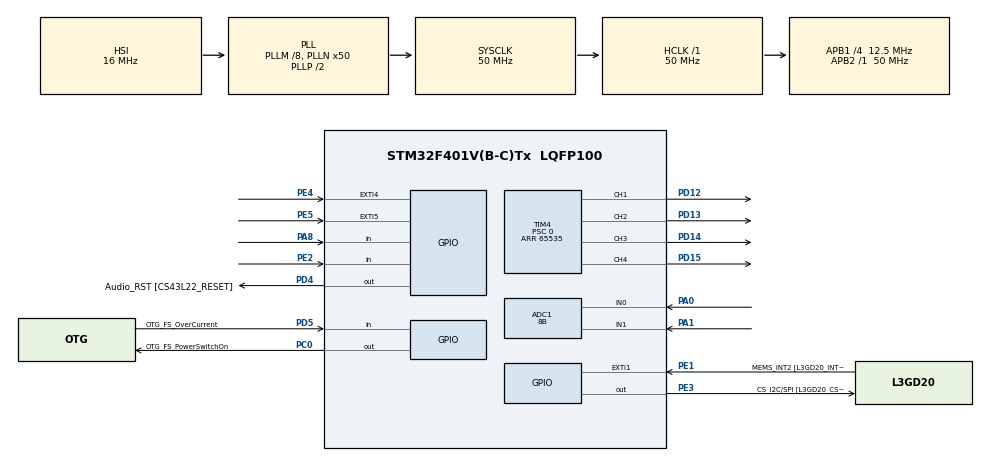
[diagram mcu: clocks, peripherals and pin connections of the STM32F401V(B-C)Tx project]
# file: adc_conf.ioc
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ADC1.Channel-0\#ChannelRegularConversion=ADC_CHANNEL_0
ADC1.Channel-1\#ChannelRegularConversion=ADC_CHANNEL_1
ADC1.Channel-2\#ChannelInjectedConversion=ADC_CHANNEL_0
ADC1.Channel-3\#ChannelInjectedConversion=ADC_CHANNEL_0
ADC1.Channel-5\#ChannelInjectedConversion=ADC_CHANNEL_0
ADC1.Channel-6\#ChannelInjectedConversion=ADC_CHANNEL_0
ADC1.ClockPrescaler=ADC_CLOCK_SYNC_PCLK_DIV2
ADC1.ContinuousConvMode=ENABLE
ADC1.DMAContinuousRequests=ENABLE
ADC1.DataAlign=ADC_DATAALIGN_RIGHT
ADC1.DiscontinuousConvMode=DISABLE
ADC1.EOCSelection=ADC_EOC_SINGLE_CONV
ADC1.EnableAnalogWatchDog=false
ADC1.ExternalTrigConv=ADC_SOFTWARE_START
ADC1.ExternalTrigConvEdge=ADC_EXTERNALTRIGCONVEDGE_NONE
ADC1.InjNumberOfConversion=2
ADC1.InjectedOffset-2\#ChannelInjectedConversion=0
ADC1.InjectedOffset-3\#ChannelInjectedConversion=0
ADC1.InjectedOffset-5\#ChannelInjectedConversion=0
ADC1.InjectedOffset-6\#ChannelInjectedConversion=0
ADC1.NbrOfConversion=2
ADC1.NbrOfConversionFlag=1
ADC1.Rank-0\#ChannelRegularConversion=1
ADC1.Rank-1\#ChannelRegularConversion=2
ADC1.Rank-2\#ChannelInjectedConversion=1
ADC1.Rank-3\#ChannelInjectedConversion=2
ADC1.Rank-5\#ChannelInjectedConversion=1
ADC1.Rank-6\#ChannelInjectedConversion=2
ADC1.Resolution=ADC_RESOLUTION_8B
ADC1.SamplingTime-0\#ChannelRegularConversion=ADC_SAMPLETIME_144CYCLES
ADC1.SamplingTime-1\#ChannelRegularConversion=ADC_SAMPLETIME_144CYCLES
ADC1.SamplingTime-2\#ChannelInjectedConversion=ADC_SAMPLETIME_3CYCLES
ADC1.SamplingTime-3\#ChannelInjectedConversion=ADC_SAMPLETIME_3CYCLES
ADC1.SamplingTime-5\#ChannelInjectedConversion=ADC_SAMPLETIME_3CYCLES
ADC1.SamplingTime-6\#ChannelInjectedConversion=ADC_SAMPLETIME_3CYCLES
ADC1.ScanConvMode=ENABLE
ADC1.master=1
Dma.ADC1.0.Direction=DMA_PERIPH_TO_MEMORY
Dma.ADC1.0.FIFOMode=DMA_FIFOMODE_ENABLE
Dma.ADC1.0.FIFOThreshold=DMA_FIFO_THRESHOLD_FULL
Dma.ADC1.0.Instance=DMA2_Stream0
Dma.ADC1.0.MemBurst=DMA_MBURST_SINGLE
Dma.ADC1.0.MemDataAlignment=DMA_MDATAALIGN_HALFWORD
Dma.ADC1.0.MemInc=DMA_MINC_ENABLE
Dma.ADC1.0.Mode=DMA_CIRCULAR
Dma.ADC1.0.PeriphBurst=DMA_PBURST_SINGLE
Dma.ADC1.0.PeriphDataAlignment=DMA_PDATAALIGN_HALFWORD
Dma.ADC1.0.PeriphInc=DMA_PINC_DISABLE
Dma.ADC1.0.Priority=DMA_PRIORITY_LOW
Dma.Request0=ADC1
Mcu.Family=STM32F4
Mcu.Name=STM32F401V(B-C)Tx
Mcu.Package=LQFP100
NVIC.DMA2_Stream0_IRQn=true\:0\:0\:false\:false\:true
NVIC.PriorityGroup=NVIC_PRIORITYGROUP_0
PA0-WKUP.Signal=ADCx_IN0
PA1.Signal=ADCx_IN1
PA11.GPIO_Label=OTG_FS_DM
PA11.Signal=USB_OTG_FS_DM
PA12.GPIO_Label=OTG_FS_DP
PA12.Signal=USB_OTG_FS_DP
PA13.GPIO_Label=SWDIO
PA13.Signal=SYS_JTMS-SWDIO
PA14.GPIO_Label=SWCLK
PA14.Signal=SYS_JTCK-SWCLK
PA4.GPIO_Label=I2S3_WS [CS43L22_LRCK]
PA4.GPIO_Mode=GPIO_MODE_AF_PP
PA4.GPIO_PuPd=GPIO_NOPULL
PA4.GPIO_Speed=GPIO_SPEED_FREQ_LOW
PA4.Signal=I2S3_WS
PA5.GPIO_Label=SPI1_SCK [L3GD20_SC/SPC]
PA5.Signal=SPI1_SCK
PA6.GPIO_Label=SPI1_MISO [L3GD20_AS0/SDO]
PA6.Signal=SPI1_MISO
PA7.GPIO_Label=SPI1_MISO [L3GD20_SDA/SDI/SDO]
PA7.Signal=SPI1_MOSI
PA8.GPIO_PuPd=GPIO_PULLDOWN
PA8.Signal=GPIO_Input
PA9.GPIO_Label=VBUS_FS
PA9.Signal=USB_OTG_FS_VBUS
PB10.GPIO_Label=CLK_IN [MP45DT02_CLK]
PB10.Signal=I2S2_CK
PB12.Signal=I2S2_WS
PB3.GPIO_Label=SWO
PB3.Signal=SYS_JTDO-SWO
PB6.GPIO_Label=Audio_SCL [CS43L22_SCL]
PB6.GPIO_Mode=GPIO_MODE_AF_OD
PB6.GPIO_PuPd=GPIO_NOPULL
PB6.GPIO_Speed=GPIO_SPEED_FREQ_LOW
PB6.Signal=I2C1_SCL
PB9.GPIO_Label=Audio_SDA [CS43L22_SDA]
PB9.GPIO_Mode=GPIO_MODE_AF_OD
PB9.GPIO_PuPd=GPIO_NOPULL
PB9.GPIO_Speed=GPIO_SPEED_FREQ_LOW
PB9.Signal=I2C1_SDA
PC0.GPIO_Label=OTG_FS_PowerSwitchOn
PC0.PinState=GPIO_PIN_SET
PC0.Signal=GPIO_Output
PC10.GPIO_Label=I2S3_SCK [CS43L22_SCLK]
PC10.GPIO_Mode=GPIO_MODE_AF_PP
PC10.GPIO_PuPd=GPIO_NOPULL
PC10.GPIO_Speed=GPIO_SPEED_FREQ_LOW
PC10.Signal=I2S3_CK
PC12.GPIO_Label=I2S3_SD [CS43L22_SDIN]
PC12.GPIO_Mode=GPIO_MODE_AF_PP
PC12.GPIO_PuPd=GPIO_NOPULL
PC12.GPIO_Speed=GPIO_SPEED_FREQ_LOW
PC12.Signal=I2S3_SD
PC14-OSC32_IN.GPIO_Label=PC14-OSC32_IN
PC14-OSC32_IN.Signal=RCC_OSC32_IN
PC15-OSC32_OUT.GPIO_Label=PC15-OSC32_OUT
PC15-OSC32_OUT.Signal=RCC_OSC32_OUT
PC3.GPIO_Label=PDM_OUT [MP45DT02_DOUT]
PC3.Signal=I2S2_SD
PC7.GPIO_Label=I2S3_MCK [CS43L22_MCLK]
PC7.GPIO_Mode=GPIO_MODE_AF_PP
PC7.GPIO_PuPd=GPIO_NOPULL
PC7.GPIO_Speed=GPIO_SPEED_FREQ_LOW
PC7.Signal=I2S3_MCK
PD12.Signal=S_TIM4_CH1
PD13.Signal=S_TIM4_CH2
PD14.Signal=S_TIM4_CH3
PD15.Signal=S_TIM4_CH4
PD4.GPIO_Label=Audio_RST [CS43L22_RESET]
PD4.Signal=GPIO_Output
PD5.GPIO_Label=OTG_FS_OverCurrent
PD5.Signal=GPIO_Input
PE1.GPIO_Label=MEMS_INT2 [L3GD20_INT2]
PE1.GPIO_ModeDefaultEXTI=GPIO_MODE_EVT_RISING
PE1.Signal=GPXTI1
PE2.Signal=GPIO_Input
PE3.GPIO_Label=CS_I2C/SPI [L3GD20_CS_I2C/SPI]
PE3.Signal=GPIO_Output
PE4.GPIO_ModeDefaultEXTI=GPIO_MODE_EVT_RISING
PE4.Signal=GPXTI4
PE5.GPIO_ModeDefaultEXTI=GPIO_MODE_EVT_RISING
PE5.Signal=GPXTI5
PH0\ -\ OSC_IN.GPIO_Label=PH0-OSC_IN
PH0\ -\ OSC_IN.Mode=HSE-External-Oscillator
PH0\ -\ OSC_IN.Signal=RCC_OSC_IN
PH1\ -\ OSC_OUT.GPIO_Label=PH1-OSC_OUT
PH1\ -\ OSC_OUT.Mode=HSE-External-Oscillator
PH1\ -\ OSC_OUT.Signal=RCC_OSC_OUT
ProjectManager.HeapSize=0x200
ProjectManager.StackSize=0x400
ProjectManager.TargetToolchain=MDK-ARM V5
RCC.48MHZClocksFreq_Value=14285714.285714285
RCC.AHBFreq_Value=50000000
RCC.APB1CLKDivider=RCC_HCLK_DIV4
RCC.APB1Freq_Value=12500000
RCC.APB1TimFreq_Value=25000000
RCC.APB2Freq_Value=50000000
RCC.APB2TimFreq_Value=50000000
RCC.CortexFreq_Value=50000000
RCC.HCLKFreq_Value=50000000
RCC.HSE_VALUE=8000000
RCC.HSI_VALUE=16000000
RCC.LSE_VALUE=32768
RCC.PLLM=8
RCC.PLLN=50
RCC.PLLQ=7
RCC.SYSCLKFreq_VALUE=50000000
RCC.SYSCLKSource=RCC_SYSCLKSOURCE_PLLCLK
RCC.VCOOutputFreq_Value=100000000
SH.ADCx_IN0.0=ADC1_IN0,IN0
SH.ADCx_IN1.0=ADC1_IN1,IN1
SH.S_TIM4_CH1.0=TIM4_CH1,PWM Generation1 CH1
SH.S_TIM4_CH2.0=TIM4_CH2,PWM Generation2 CH2
SH.S_TIM4_CH3.0=TIM4_CH3,PWM Generation3 CH3
SH.S_TIM4_CH4.0=TIM4_CH4,PWM Generation4 CH4
TIM4.Channel-PWM\ Generation1\ CH1=TIM_CHANNEL_1
TIM4.Channel-PWM\ Generation2\ CH2=TIM_CHANNEL_2
TIM4.Channel-PWM\ Generation3\ CH3=TIM_CHANNEL_3
TIM4.Channel-PWM\ Generation4\ CH4=TIM_CHANNEL_4
TIM4.Period=65535
TIM4.Prescaler=0
TIM4.Pulse-PWM\ Generation1\ CH1=100
TIM4.Pulse-PWM\ Generation2\ CH2=100
TIM4.Pulse-PWM\ Generation3\ CH3=100
TIM4.Pulse-PWM\ Generation4\ CH4=100
board=STM32F401C-DISCO

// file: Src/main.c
/**
  ******************************************************************************
  * File Name          : main.c
  * Description        : Main program body
  ******************************************************************************
  ** This notice applies to any and all portions of this file
  * that are not between comment pairs USER CODE BEGIN and
  * USER CODE END. Other portions of this file, whether
  * inserted by the user or by software development tools
  * are owned by their respective copyright owners.
  *
  * COPYRIGHT(c) 2017 STMicroelectronics
  *
  * Redistribution and use in source and binary forms, with or without modification,
  * are permitted provided that the following conditions are met:
  *   1. Redistributions of source code must retain the above copyright notice,
  *      this list of conditions and the following disclaimer.
  *   2. Redistributions in binary form must reproduce the above copyright notice,
  *      this list of conditions and the following disclaimer in the documentation
  *      and/or other materials provided with the distribution.
  *   3. Neither the name of STMicroelectronics nor the names of its contributors
  *      may be used to endorse or promote products derived from this software
  *      without specific prior written permission.
  *
  * THIS SOFTWARE IS PROVIDED BY THE COPYRIGHT HOLDERS AND CONTRIBUTORS "AS IS"
  * AND ANY EXPRESS OR IMPLIED WARRANTIES, INCLUDING, BUT NOT LIMITED TO, THE
  * IMPLIED WARRANTIES OF MERCHANTABILITY AND FITNESS FOR A PARTICULAR PURPOSE ARE
  * DISCLAIMED. IN NO EVENT SHALL THE COPYRIGHT HOLDER OR CONTRIBUTORS BE LIABLE
  * FOR ANY DIRECT, INDIRECT, INCIDENTAL, SPECIAL, EXEMPLARY, OR CONSEQUENTIAL
  * DAMAGES (INCLUDING, BUT NOT LIMITED TO, PROCUREMENT OF SUBSTITUTE GOODS OR
  * SERVICES; LOSS OF USE, DATA, OR PROFITS; OR BUSINESS INTERRUPTION) HOWEVER
  * CAUSED AND ON ANY THEORY OF LIABILITY, WHETHER IN CONTRACT, STRICT LIABILITY,
  * OR TORT (INCLUDING NEGLIGENCE OR OTHERWISE) ARISING IN ANY WAY OUT OF THE USE
  * OF THIS SOFTWARE, EVEN IF ADVISED OF THE POSSIBILITY OF SUCH DAMAGE.
  *
  ******************************************************************************
  */
#include "main.h"
#include "stm32f4xx_hal.h"

ADC_HandleTypeDef hadc1;
DMA_HandleTypeDef hdma_adc1;

TIM_HandleTypeDef htim4;

/* USER CODE BEGIN PV */
/* Private variables ---------------------------------------------------------*/

		////////////////////////////////////
		/////		Varibles globales pour distance
		////////////////////////////////////

		double distance_cm_haut=0;
		double distance_cm_bas=0;
		uint8_t adc_buffer[2]; 				//Utilisation par le DMA

		////////////////////////////////////
		/////		Machine d'états
		////////////////////////////////////

		enum etape {rouler, tourner, franchissement};
		enum etape etape_deplacement=rouler;

		////////////////////////////////////
		/////		Fonctionnement globale
		////////////////////////////////////

		int enable=0;

		////////////////////////////////////
		/////		Surcharge fonction existante pour calcul distance OK
		////////////////////////////////////

		void HAL_ADC_ConvCpltCallback(ADC_HandleTypeDef* hadc);

		////////////////////////////////////
		/////		Fonctions de déplacement OK
		////////////////////////////////////

		void avancer_droite(void);
		void reculer_droite(void);
		void avancer_gauche(void);
		void reculer_gauche(void);
		void avancer(void);
		void reculer(void);
		void tourner_droite(void);
		void tourner_gauche(void);
		void stop(void);

		////////////////////////////////////
		/////		Fonction fixant PWM OK
		////////////////////////////////////

		void set_pwm(double val);

		////////////////////////////////////
		/////		Fonction calcul distance OK
		////////////////////////////////////

		double calcul_distance(void);

		////////////////////////////////////
		/////		Lancement machine d'états
		////////////////////////////////////

		void deplacement(void);

/* USER CODE END PV */

void SystemClock_Config(void);
static void MX_GPIO_Init(void);
static void MX_DMA_Init(void);
static void MX_ADC1_Init(void);
static void MX_TIM4_Init(void);

void HAL_TIM_MspPostInit(TIM_HandleTypeDef *htim);

/* USER CODE BEGIN PFP */
/* Private function prototypes -----------------------------------------------*/

/* USER CODE END PFP */

int main(void)
{

  /* MCU Configuration----------------------------------------------------------*/

  /* Reset of all peripherals, Initializes the Flash interface and the Systick. */
  HAL_Init();

  /* Configure the system clock */
  SystemClock_Config();

  /* Initialize all configured peripherals */
  MX_GPIO_Init();
  MX_DMA_Init();
  MX_ADC1_Init();
  MX_TIM4_Init();

  /* USER CODE BEGIN 2 */

		////////////////////////////////////
		/////		Lancement de l'ADC et de l'écriture en DMA
		////////////////////////////////////

	  HAL_ADC_Start(&hadc1);
		HAL_ADC_Start_DMA(&hadc1,(uint32_t*)&adc_buffer,2);

		////////////////////////////////////
		/////		Verif fonctionnement fonction set_pwm
		////////////////////////////////////

		set_pwm(0.7);

  /* USER CODE END 2 */

  /* Infinite loop */
  /* USER CODE BEGIN WHILE */
  while (1)
  {

		////////////////////////////////////
		/////		Verif fonctionnement GPIO
		////////////////////////////////////

		/*if(HAL_GPIO_ReadPin(GPIOA,GPIO_PIN_8)){
			if(enable) enable=0;
			else enable=1;
		}
			if(enable) avancer();
		else stop();*/

		////////////////////////////////////
		/////		Verif fonctionnement des fonctions de déplacement
		////////////////////////////////////

		/*avancer();
		reculer();
		tourner_droite();
		tourner_gauche();*/

		////////////////////////////////////
		/////		Verif fonctionnement télémètre sup et inf
		////////////////////////////////////

		/*if(calcul_distance()>20) avancer();
		else stop();*/

		////////////////////////////////////
		/////		Lancement machine d'états
		////////////////////////////////////

		/*deplacement();*/

  /* USER CODE END WHILE */

  }

}

/** System Clock Configuration
*/
void SystemClock_Config(void)
{

  RCC_OscInitTypeDef RCC_OscInitStruct;
  RCC_ClkInitTypeDef RCC_ClkInitStruct;

    /**Configure the main internal regulator output voltage
    */
  __HAL_RCC_PWR_CLK_ENABLE();

  __HAL_PWR_VOLTAGESCALING_CONFIG(PWR_REGULATOR_VOLTAGE_SCALE2);

    /**Initializes the CPU, AHB and APB busses clocks
    */
  RCC_OscInitStruct.OscillatorType = RCC_OSCILLATORTYPE_HSI;
  RCC_OscInitStruct.HSIState = RCC_HSI_ON;
  RCC_OscInitStruct.HSICalibrationValue = 16;
  RCC_OscInitStruct.PLL.PLLState = RCC_PLL_ON;
  RCC_OscInitStruct.PLL.PLLSource = RCC_PLLSOURCE_HSI;
  RCC_OscInitStruct.PLL.PLLM = 8;
  RCC_OscInitStruct.PLL.PLLN = 50;
  RCC_OscInitStruct.PLL.PLLP = RCC_PLLP_DIV2;
  RCC_OscInitStruct.PLL.PLLQ = 7;
  if (HAL_RCC_OscConfig(&RCC_OscInitStruct) != HAL_OK)
  {
    _Error_Handler(__FILE__, __LINE__);
  }

    /**Initializes the CPU, AHB and APB busses clocks
    */
  RCC_ClkInitStruct.ClockType = RCC_CLOCKTYPE_HCLK|RCC_CLOCKTYPE_SYSCLK
                              |RCC_CLOCKTYPE_PCLK1|RCC_CLOCKTYPE_PCLK2;
  RCC_ClkInitStruct.SYSCLKSource = RCC_SYSCLKSOURCE_PLLCLK;
  RCC_ClkInitStruct.AHBCLKDivider = RCC_SYSCLK_DIV1;
  RCC_ClkInitStruct.APB1CLKDivider = RCC_HCLK_DIV4;
  RCC_ClkInitStruct.APB2CLKDivider = RCC_HCLK_DIV1;

  if (HAL_RCC_ClockConfig(&RCC_ClkInitStruct, FLASH_LATENCY_1) != HAL_OK)
  {
    _Error_Handler(__FILE__, __LINE__);
  }

    /**Configure the Systick interrupt time
    */
  HAL_SYSTICK_Config(HAL_RCC_GetHCLKFreq()/1000);

    /**Configure the Systick
    */
  HAL_SYSTICK_CLKSourceConfig(SYSTICK_CLKSOURCE_HCLK);

  /* SysTick_IRQn interrupt configuration */
  HAL_NVIC_SetPriority(SysTick_IRQn, 0, 0);
}

/* ADC1 init function */
static void MX_ADC1_Init(void)
{

  ADC_ChannelConfTypeDef sConfig;
  ADC_InjectionConfTypeDef sConfigInjected;

    /**Configure the global features of the ADC (Clock, Resolution, Data Alignment and number of conversion)
    */
  hadc1.Instance = ADC1;
  hadc1.Init.ClockPrescaler = ADC_CLOCK_SYNC_PCLK_DIV2;
  hadc1.Init.Resolution = ADC_RESOLUTION_8B;
  hadc1.Init.ScanConvMode = ENABLE;
  hadc1.Init.ContinuousConvMode = ENABLE;
  hadc1.Init.DiscontinuousConvMode = DISABLE;
  hadc1.Init.ExternalTrigConvEdge = ADC_EXTERNALTRIGCONVEDGE_NONE;
  hadc1.Init.ExternalTrigConv = ADC_SOFTWARE_START;
  hadc1.Init.DataAlign = ADC_DATAALIGN_RIGHT;
  hadc1.Init.NbrOfConversion = 3;
  hadc1.Init.DMAContinuousRequests = ENABLE;
  hadc1.Init.EOCSelection = ADC_EOC_SINGLE_CONV;
  if (HAL_ADC_Init(&hadc1) != HAL_OK)
  {
    _Error_Handler(__FILE__, __LINE__);
  }

    /**Configure for the selected ADC regular channel its corresponding rank in the sequencer and its sample time.
    */
  sConfig.Channel = ADC_CHANNEL_0;
  sConfig.Rank = 1;
  sConfig.SamplingTime = ADC_SAMPLETIME_144CYCLES;
  if (HAL_ADC_ConfigChannel(&hadc1, &sConfig) != HAL_OK)
  {
    _Error_Handler(__FILE__, __LINE__);
  }

    /**Configure for the selected ADC regular channel its corresponding rank in the sequencer and its sample time.
    */
  sConfig.Channel = ADC_CHANNEL_1;
  sConfig.Rank = 2;
  if (HAL_ADC_ConfigChannel(&hadc1, &sConfig) != HAL_OK)
  {
    _Error_Handler(__FILE__, __LINE__);
  }

    /**Configure for the selected ADC regular channel its corresponding rank in the sequencer and its sample time.
    */
  sConfig.Channel = ADC_CHANNEL_2;
  sConfig.Rank = 3;
  if (HAL_ADC_ConfigChannel(&hadc1, &sConfig) != HAL_OK)
  {
    _Error_Handler(__FILE__, __LINE__);
  }

    /**Configures for the selected ADC injected channel its corresponding rank in the sequencer and its sample time
    */
  sConfigInjected.InjectedChannel = ADC_CHANNEL_0;
  sConfigInjected.InjectedRank = 1;
  sConfigInjected.InjectedNbrOfConversion = 0;
  sConfigInjected.InjectedSamplingTime = ADC_SAMPLETIME_3CYCLES;
  sConfigInjected.AutoInjectedConv = DISABLE;
  sConfigInjected.InjectedDiscontinuousConvMode = DISABLE;
  sConfigInjected.InjectedOffset = 0;
  if (HAL_ADCEx_InjectedConfigChannel(&hadc1, &sConfigInjected) != HAL_OK)
  {
    _Error_Handler(__FILE__, __LINE__);
  }

    /**Configures for the selected ADC injected channel its corresponding rank in the sequencer and its sample time
    */
  sConfigInjected.InjectedRank = 2;
  if (HAL_ADCEx_InjectedConfigChannel(&hadc1, &sConfigInjected) != HAL_OK)
  {
    _Error_Handler(__FILE__, __LINE__);
  }

}

/* TIM4 init function */
static void MX_TIM4_Init(void)
{

  TIM_MasterConfigTypeDef sMasterConfig;
  TIM_OC_InitTypeDef sConfigOC;

  htim4.Instance = TIM4;
  htim4.Init.Prescaler = 0;
  htim4.Init.CounterMode = TIM_COUNTERMODE_UP;
  htim4.Init.Period = 65535;
  htim4.Init.ClockDivision = TIM_CLOCKDIVISION_DIV1;
  if (HAL_TIM_PWM_Init(&htim4) != HAL_OK)
  {
    _Error_Handler(__FILE__, __LINE__);
  }

  sMasterConfig.MasterOutputTrigger = TIM_TRGO_RESET;
  sMasterConfig.MasterSlaveMode = TIM_MASTERSLAVEMODE_DISABLE;
  if (HAL_TIMEx_MasterConfigSynchronization(&htim4, &sMasterConfig) != HAL_OK)
  {
    _Error_Handler(__FILE__, __LINE__);
  }

  sConfigOC.OCMode = TIM_OCMODE_PWM1;
  sConfigOC.Pulse = 100;
  sConfigOC.OCPolarity = TIM_OCPOLARITY_HIGH;
  sConfigOC.OCFastMode = TIM_OCFAST_DISABLE;
  if (HAL_TIM_PWM_ConfigChannel(&htim4, &sConfigOC, TIM_CHANNEL_1) != HAL_OK)
  {
    _Error_Handler(__FILE__, __LINE__);
  }

  if (HAL_TIM_PWM_ConfigChannel(&htim4, &sConfigOC, TIM_CHANNEL_2) != HAL_OK)
  {
    _Error_Handler(__FILE__, __LINE__);
  }

  if (HAL_TIM_PWM_ConfigChannel(&htim4, &sConfigOC, TIM_CHANNEL_3) != HAL_OK)
  {
    _Error_Handler(__FILE__, __LINE__);
  }

  if (HAL_TIM_PWM_ConfigChannel(&htim4, &sConfigOC, TIM_CHANNEL_4) != HAL_OK)
  {
    _Error_Handler(__FILE__, __LINE__);
  }

  HAL_TIM_MspPostInit(&htim4);

}

static void MX_DMA_Init(void)
{
  /* DMA controller clock enable */
  __HAL_RCC_DMA2_CLK_ENABLE();

  /* DMA interrupt init */
  /* DMA2_Stream0_IRQn interrupt configuration */
  HAL_NVIC_SetPriority(DMA2_Stream0_IRQn, 0, 0);
  HAL_NVIC_EnableIRQ(DMA2_Stream0_IRQn);

}

/** Configure pins as
        * Analog
        * Input
        * Output
        * EVENT_OUT
        * EXTI
     PC3   ------> I2S2_SD
     PA4   ------> I2S3_WS
     PA5   ------> SPI1_SCK
     PA6   ------> SPI1_MISO
     PA7   ------> SPI1_MOSI
     PB10   ------> I2S2_CK
     PB12   ------> I2S2_WS
     PC7   ------> I2S3_MCK
     PA9   ------> USB_OTG_FS_VBUS
     PA11   ------> USB_OTG_FS_DM
     PA12   ------> USB_OTG_FS_DP
     PC10   ------> I2S3_CK
     PC12   ------> I2S3_SD
     PB6   ------> I2C1_SCL
     PB9   ------> I2C1_SDA
*/
static void MX_GPIO_Init(void)
{

  GPIO_InitTypeDef GPIO_InitStruct;

  /* GPIO Ports Clock Enable */
  __HAL_RCC_GPIOE_CLK_ENABLE();
  __HAL_RCC_GPIOC_CLK_ENABLE();
  __HAL_RCC_GPIOH_CLK_ENABLE();
  __HAL_RCC_GPIOA_CLK_ENABLE();
  __HAL_RCC_GPIOB_CLK_ENABLE();
  __HAL_RCC_GPIOD_CLK_ENABLE();

  /*Configure GPIO pin Output Level */
  HAL_GPIO_WritePin(CS_I2C_SPI_GPIO_Port, CS_I2C_SPI_Pin, GPIO_PIN_RESET);

  /*Configure GPIO pin Output Level */
  HAL_GPIO_WritePin(OTG_FS_PowerSwitchOn_GPIO_Port, OTG_FS_PowerSwitchOn_Pin, GPIO_PIN_SET);

  /*Configure GPIO pin Output Level */
  HAL_GPIO_WritePin(Audio_RST_GPIO_Port, Audio_RST_Pin, GPIO_PIN_RESET);

  /*Configure GPIO pin : PE2 */
  GPIO_InitStruct.Pin = GPIO_PIN_2;
  GPIO_InitStruct.Mode = GPIO_MODE_INPUT;
  GPIO_InitStruct.Pull = GPIO_NOPULL;
  HAL_GPIO_Init(GPIOE, &GPIO_InitStruct);

  /*Configure GPIO pin : CS_I2C_SPI_Pin */
  GPIO_InitStruct.Pin = CS_I2C_SPI_Pin;
  GPIO_InitStruct.Mode = GPIO_MODE_OUTPUT_PP;
  GPIO_InitStruct.Pull = GPIO_NOPULL;
  GPIO_InitStruct.Speed = GPIO_SPEED_FREQ_LOW;
  HAL_GPIO_Init(CS_I2C_SPI_GPIO_Port, &GPIO_InitStruct);

  /*Configure GPIO pins : PE4 PE5 MEMS_INT2_Pin */
  GPIO_InitStruct.Pin = GPIO_PIN_4|GPIO_PIN_5|MEMS_INT2_Pin;
  GPIO_InitStruct.Mode = GPIO_MODE_EVT_RISING;
  GPIO_InitStruct.Pull = GPIO_NOPULL;
  HAL_GPIO_Init(GPIOE, &GPIO_InitStruct);

  /*Configure GPIO pin : OTG_FS_PowerSwitchOn_Pin */
  GPIO_InitStruct.Pin = OTG_FS_PowerSwitchOn_Pin;
  GPIO_InitStruct.Mode = GPIO_MODE_OUTPUT_PP;
  GPIO_InitStruct.Pull = GPIO_NOPULL;
  GPIO_InitStruct.Speed = GPIO_SPEED_FREQ_LOW;
  HAL_GPIO_Init(OTG_FS_PowerSwitchOn_GPIO_Port, &GPIO_InitStruct);

  /*Configure GPIO pin : PDM_OUT_Pin */
  GPIO_InitStruct.Pin = PDM_OUT_Pin;
  GPIO_InitStruct.Mode = GPIO_MODE_AF_PP;
  GPIO_InitStruct.Pull = GPIO_NOPULL;
  GPIO_InitStruct.Speed = GPIO_SPEED_FREQ_LOW;
  GPIO_InitStruct.Alternate = GPIO_AF5_SPI2;
  HAL_GPIO_Init(PDM_OUT_GPIO_Port, &GPIO_InitStruct);

  /*Configure GPIO pin : I2S3_WS_Pin */
  GPIO_InitStruct.Pin = I2S3_WS_Pin;
  GPIO_InitStruct.Mode = GPIO_MODE_AF_PP;
  GPIO_InitStruct.Pull = GPIO_NOPULL;
  GPIO_InitStruct.Speed = GPIO_SPEED_FREQ_LOW;
  GPIO_InitStruct.Alternate = GPIO_AF6_SPI3;
  HAL_GPIO_Init(I2S3_WS_GPIO_Port, &GPIO_InitStruct);

  /*Configure GPIO pins : SPI1_SCK_Pin SPI1_MISO_Pin SPI1_MISOA7_Pin */
  GPIO_InitStruct.Pin = SPI1_SCK_Pin|SPI1_MISO_Pin|SPI1_MISOA7_Pin;
  GPIO_InitStruct.Mode = GPIO_MODE_AF_PP;
  GPIO_InitStruct.Pull = GPIO_NOPULL;
  GPIO_InitStruct.Speed = GPIO_SPEED_FREQ_VERY_HIGH;
  GPIO_InitStruct.Alternate = GPIO_AF5_SPI1;
  HAL_GPIO_Init(GPIOA, &GPIO_InitStruct);

  /*Configure GPIO pins : CLK_IN_Pin PB12 */
  GPIO_InitStruct.Pin = CLK_IN_Pin|GPIO_PIN_12;
  GPIO_InitStruct.Mode = GPIO_MODE_AF_PP;
  GPIO_InitStruct.Pull = GPIO_NOPULL;
  GPIO_InitStruct.Speed = GPIO_SPEED_FREQ_LOW;
  GPIO_InitStruct.Alternate = GPIO_AF5_SPI2;
  HAL_GPIO_Init(GPIOB, &GPIO_InitStruct);

  /*Configure GPIO pins : I2S3_MCK_Pin I2S3_SCK_Pin I2S3_SD_Pin */
  GPIO_InitStruct.Pin = I2S3_MCK_Pin|I2S3_SCK_Pin|I2S3_SD_Pin;
  GPIO_InitStruct.Mode = GPIO_MODE_AF_PP;
  GPIO_InitStruct.Pull = GPIO_NOPULL;
  GPIO_InitStruct.Speed = GPIO_SPEED_FREQ_LOW;
  GPIO_InitStruct.Alternate = GPIO_AF6_SPI3;
  HAL_GPIO_Init(GPIOC, &GPIO_InitStruct);

  /*Configure GPIO pin : PA8 */
  GPIO_InitStruct.Pin = GPIO_PIN_8;
  GPIO_InitStruct.Mode = GPIO_MODE_INPUT;
  GPIO_InitStruct.Pull = GPIO_PULLDOWN;
  HAL_GPIO_Init(GPIOA, &GPIO_InitStruct);

  /*Configure GPIO pin : VBUS_FS_Pin */
  GPIO_InitStruct.Pin = VBUS_FS_Pin;
  GPIO_InitStruct.Mode = GPIO_MODE_INPUT;
  GPIO_InitStruct.Pull = GPIO_NOPULL;
  HAL_GPIO_Init(VBUS_FS_GPIO_Port, &GPIO_InitStruct);

  /*Configure GPIO pins : OTG_FS_DM_Pin OTG_FS_DP_Pin */
  GPIO_InitStruct.Pin = OTG_FS_DM_Pin|OTG_FS_DP_Pin;
  GPIO_InitStruct.Mode = GPIO_MODE_AF_PP;
  GPIO_InitStruct.Pull = GPIO_NOPULL;
  GPIO_InitStruct.Speed = GPIO_SPEED_FREQ_VERY_HIGH;
  GPIO_InitStruct.Alternate = GPIO_AF10_OTG_FS;
  HAL_GPIO_Init(GPIOA, &GPIO_InitStruct);

  /*Configure GPIO pin : Audio_RST_Pin */
  GPIO_InitStruct.Pin = Audio_RST_Pin;
  GPIO_InitStruct.Mode = GPIO_MODE_OUTPUT_PP;
  GPIO_InitStruct.Pull = GPIO_NOPULL;
  GPIO_InitStruct.Speed = GPIO_SPEED_FREQ_LOW;
  HAL_GPIO_Init(Audio_RST_GPIO_Port, &GPIO_InitStruct);

  /*Configure GPIO pin : OTG_FS_OverCurrent_Pin */
  GPIO_InitStruct.Pin = OTG_FS_OverCurrent_Pin;
  GPIO_InitStruct.Mode = GPIO_MODE_INPUT;
  GPIO_InitStruct.Pull = GPIO_NOPULL;
  HAL_GPIO_Init(OTG_FS_OverCurrent_GPIO_Port, &GPIO_InitStruct);

  /*Configure GPIO pins : Audio_SCL_Pin Audio_SDA_Pin */
  GPIO_InitStruct.Pin = Audio_SCL_Pin|Audio_SDA_Pin;
  GPIO_InitStruct.Mode = GPIO_MODE_AF_OD;
  GPIO_InitStruct.Pull = GPIO_PULLUP;
  GPIO_InitStruct.Speed = GPIO_SPEED_FREQ_LOW;
  GPIO_InitStruct.Alternate = GPIO_AF4_I2C1;
  HAL_GPIO_Init(GPIOB, &GPIO_InitStruct);

}

/* USER CODE BEGIN 4 */
		////////////////////////////////////
		/////		Surcharge fonction existante ok
		////////////////////////////////////
void HAL_ADC_ConvCpltCallback(ADC_HandleTypeDef* hadc){
	adc_buffer[1]= HAL_ADC_GetValue(&hadc1);

}

		////////////////////////////////////
		/////		Fonctions de déplacement
		////////////////////////////////////
void avancer_droite(void){
		HAL_TIM_PWM_Start(&htim4,TIM_CHANNEL_1);

}
void reculer_droite(void){
		HAL_TIM_PWM_Start(&htim4,TIM_CHANNEL_2);

}
void avancer_gauche(void){
		HAL_TIM_PWM_Start(&htim4,TIM_CHANNEL_3);

}
void reculer_gauche(void){
		HAL_TIM_PWM_Start(&htim4,TIM_CHANNEL_4);

}
void avancer(void){
		stop();
		HAL_TIM_PWM_Start(&htim4,TIM_CHANNEL_1);
		HAL_TIM_PWM_Start(&htim4,TIM_CHANNEL_3);

}
void reculer(void){
		stop();
		HAL_TIM_PWM_Start(&htim4,TIM_CHANNEL_2);
		HAL_TIM_PWM_Start(&htim4,TIM_CHANNEL_4);

}
void tourner_droite(void){
	stop();
	avancer_gauche();
	reculer_droite();
}
void tourner_gauche(void){
	stop();
	avancer_droite();
	reculer_gauche();
}
void stop(void){
		HAL_TIM_PWM_Stop(&htim4,TIM_CHANNEL_1);
		HAL_TIM_PWM_Stop(&htim4,TIM_CHANNEL_2);
		HAL_TIM_PWM_Stop(&htim4,TIM_CHANNEL_3);
		HAL_TIM_PWM_Stop(&htim4,TIM_CHANNEL_4);

}
		////////////////////////////////////
		/////		Calcul des distances sup et inf
		////////////////////////////////////
double calcul_distance(void){
		distance_cm_haut = -0.000005*(double)adc_buffer[0]*(double)adc_buffer[0]*(double)adc_buffer[0]+0.0027*(double)adc_buffer[0]*(double)adc_buffer[0]-0.5117*(double)adc_buffer[0]+43.847;
		distance_cm_bas = -0.000005*(double)adc_buffer[1]*(double)adc_buffer[1]*(double)adc_buffer[1]+0.0027*(double)adc_buffer[1]*(double)adc_buffer[1]-0.5117*(double)adc_buffer[1]+43.847;
		return distance_cm_bas;
}

void EXTI8_IRQHandler(void) {
		avancer();
	HAL_Delay(1000);
		stop();
 }

		////////////////////////////////////
		/////		Val compris entre 0 et 1 correspondant à 0 - 100%
		////////////////////////////////////
void set_pwm(double val){
		if(val<=1){
				TIM4->CCR1=65535*val;
				TIM4->CCR2=65535*val;
				TIM4->CCR3=65535*val;
				TIM4->CCR4=65535*val;
		}
}

		////////////////////////////////////
		/////		Machine d'états pour déplacement
		////////////////////////////////////

void deplacement(void){

	switch (etape_deplacement){

		case rouler :
					if(calcul_distance()>20) avancer();
					else if(distance_cm_haut>20){
						stop();
						etape_deplacement=franchissement;
					}
					else{
						stop();
						etape_deplacement=tourner;
					}

		break;

		case tourner :
					tourner_droite();
					if(calcul_distance()>20){
						stop();
						etape_deplacement=rouler;
					}
			break;

		case franchissement :
					set_pwm(0.5);
					if(calcul_distance()<20 && distance_cm_haut>20) avancer();
					else if(calcul_distance()<20 && distance_cm_haut<20){
						stop();
						etape_deplacement=tourner;
					}
					else{
						etape_deplacement=rouler;
					}
		break;

	}

}

/* USER CODE END 4 */

void _Error_Handler(char * file, int line)
{
  while(1)
  {
  }
}

/************************ (C) COPYRIGHT STMicroelectronics *****END OF FILE****/
